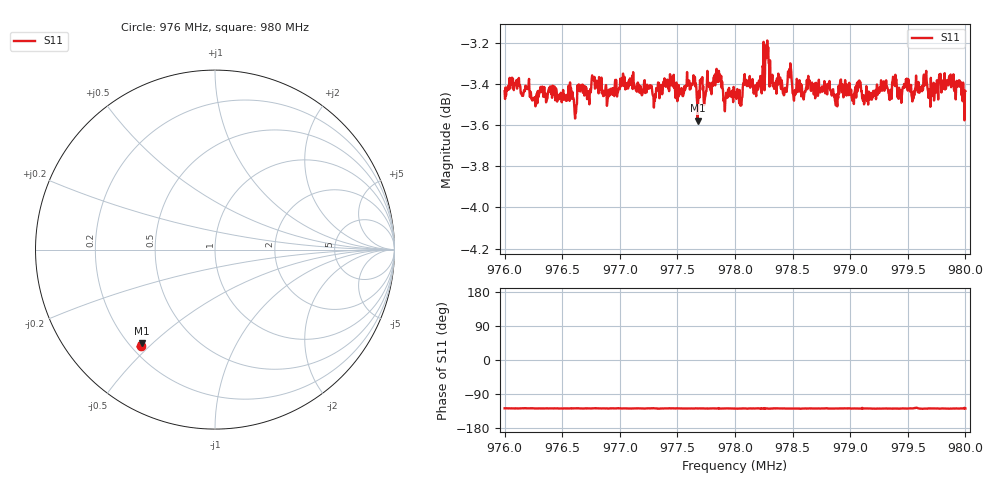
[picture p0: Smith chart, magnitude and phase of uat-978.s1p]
! Calibrated averaged scanner-service zoom
# Hz S RI R 50
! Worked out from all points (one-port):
!   1001 points, 976 MHz to 980 MHz, reference 50 ohm
!   lowest |S11| = -3.6 dB at 977.676 MHz (marker M1), VSWR 4.92, Z = 12.4 - j23.1 ohm
!   |S11| at or under -10 dB: nowhere
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9.76e8  -0.4098 -0.5343
9.76108e8  -0.4124 -0.5335
9.765e8  -0.4115 -0.5297
9.76616e8  -0.4037 -0.5293
9.76668e8  -0.4175 -0.5309
9.7678e8  -0.4128 -0.5388
9.76904e8  -0.4159 -0.5303
9.77e8  -0.4103 -0.5349
9.77096e8  -0.4161 -0.5346
9.77296e8  -0.404 -0.531
9.77344e8  -0.415 -0.5269
9.775e8  -0.4067 -0.532
9.77632e8  -0.4163 -0.5323
9.77676e8  -0.4079 -0.5218
9.77852e8  -0.415 -0.5363
9.77924e8  -0.4123 -0.5317
9.78e8  -0.4141 -0.5306
9.78184e8  -0.4118 -0.5304
9.7828e8  -0.4266 -0.5458
9.78352e8  -0.4121 -0.5349
9.785e8  -0.4145 -0.5296
9.79e8  -0.4112 -0.5336
9.795e8  -0.4157 -0.53
9.79568e8  -0.4 -0.5436
9.79624e8  -0.4188 -0.5273
9.797e8  -0.4165 -0.5355
9.7986e8  -0.4225 -0.5317
9.8e8  -0.4136 -0.5314
